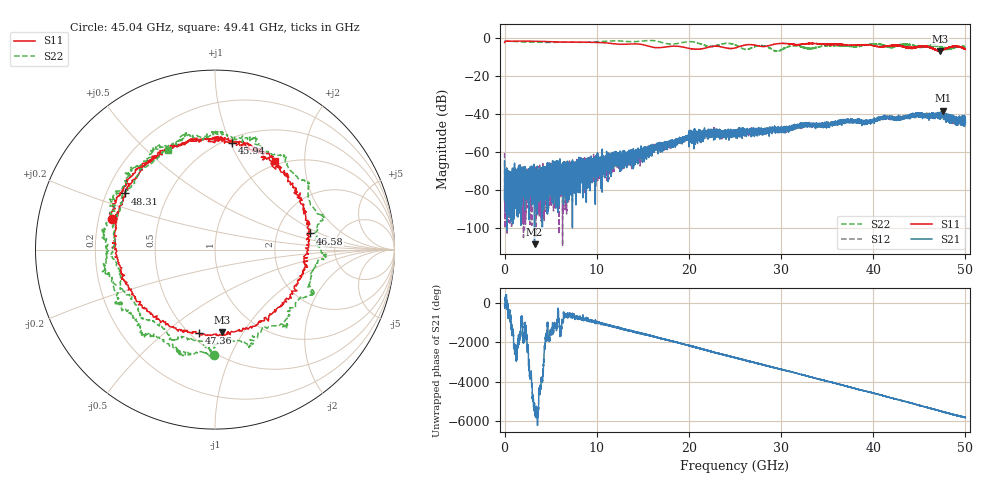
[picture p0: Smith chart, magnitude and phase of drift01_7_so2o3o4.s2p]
!Created with skrf (http://scikit-rf.org).
# Hz S RI R 50.0
!freq ReS11 ImS11 ReS21 ImS21 ReS12 ImS12 ReS22 ImS22
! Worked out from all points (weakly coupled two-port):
!   10001 points, 300 kHz to 50 GHz, reference 50 ohm
!   highest |S21| = -38.10 dB at 47.55 GHz (marker M1); lowest = -108.6 dB at 3.245 GHz (marker M2)
!   lowest |S11| = -6.7 dB at 47.24 GHz (marker M3), VSWR 2.71, Z = 34.9 - j40.6 ohm
!   |S11| at or under -10 dB: nowhere
!   |S22| runs from -6.9 to -1.1 dB; largest |S21 - S12| = 0.0043
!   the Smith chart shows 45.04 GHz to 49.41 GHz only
!   S11 on the Smith chart (normalised r, x): 45.04 GHz: 0.25, +0.14; 45.94 GHz: 0.54, +1.02; 46.58 GHz: 3.10, +0.78; 47.36 GHz: 0.55, -0.66; 48.31 GHz: 0.28, +0.27; 49.41 GHz: 0.94, +1.44
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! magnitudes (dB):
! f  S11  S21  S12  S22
! 300 kHz  -2.1  -64.4  -60.3  -1.3
! 265.3 MHz  -1.4  -76.2  -79.7  -1.4
! 3.245 GHz  -1.5  -108.6  -76.1  -2.0
! 8.335 GHz  -2.0  -63.4  -68.9  -2.1
! 16.67 GHz  -4.9  -57.8  -57.7  -1.6
! 22.05 GHz  -4.7  -49.7  -48.4  -4.1
! 25 GHz  -5.0  -49.7  -50.1  -3.4
! 26.18 GHz  -3.4  -49.5  -49.5  -5.8
! 28.09 GHz  -4.3  -48.7  -48.0  -3.8
! 29.5 GHz  -2.8  -48.5  -47.7  -6.7
! 31.29 GHz  -3.1  -47.7  -46.5  -4.0
! 33.34 GHz  -2.6  -44.9  -45.9  -5.5
! 41.67 GHz  -3.9  -41.9  -41.8  -4.6
! 45.04 GHz  -4.4  -40.8  -40.5  -4.6
! 45.94 GHz  -4.4  -40.1  -40.9  -3.9
! 46.58 GHz  -5.4  -40.2  -40.1  -3.8
! 47.24 GHz  -6.7  -41.0  -39.9  -4.4
! 47.36 GHz  -6.5  -41.4  -41.1  -4.7
! 47.55 GHz  -6.1  -38.1  -41.0  -5.1
! 48.31 GHz  -4.6  -41.6  -42.2  -5.3
! 49.41 GHz  -4.5  -42.8  -43.6  -4.3
! 50 GHz  -5.7  -44.4  -43.5  -4.2
